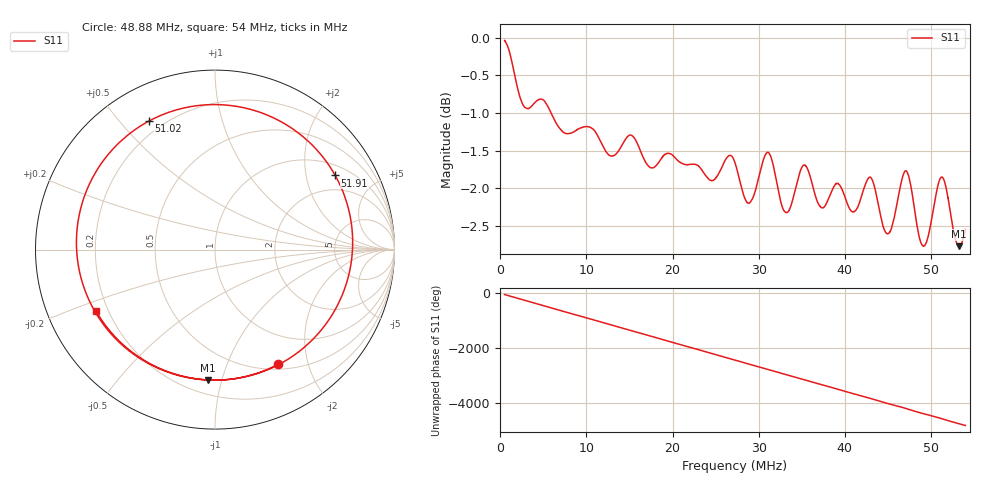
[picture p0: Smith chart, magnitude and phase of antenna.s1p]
! Calibrated high-resolution NanoVNA antenna measurement
# Hz S RI R 50
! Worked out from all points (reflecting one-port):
!   40001 points, 500 kHz to 54 MHz, reference 50 ohm
!   lowest |S11| = -2.8 dB at 53.29 MHz (marker M1), VSWR 6.33, Z = 14.7 - j45.3 ohm
!   phase of S11 starts at -46 deg and turns -4787 deg over the sweep
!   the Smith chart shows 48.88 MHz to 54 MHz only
!   S11 on the Smith chart (normalised r, x): 48.88 MHz: 0.56, -1.54; 51.02 MHz: 0.15, +0.60; 51.91 MHz: 1.36, +2.95; 54 MHz: 0.15, -0.24
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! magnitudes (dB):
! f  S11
! 500 kHz  0.0
! 2.692 MHz  -0.9
! 4.957 MHz  -0.8
! 7.188 MHz  -1.2
! 13.88 MHz  -1.5
! 15.15 MHz  -1.3
! 17.41 MHz  -1.7
! 20.56 MHz  -1.6
! 24.53 MHz  -1.9
! 27.25 MHz  -1.7
! 28.88 MHz  -2.2
! 31.13 MHz  -1.5
! 32.89 MHz  -2.3
! 33.94 MHz  -2.2
! 35.32 MHz  -1.7
! 37.18 MHz  -2.2
! 39.14 MHz  -1.9
! 40.62 MHz  -2.3
! 42.98 MHz  -1.9
! 45.06 MHz  -2.6
! 46.75 MHz  -1.8
! 47.31 MHz  -1.8
! 48.88 MHz  -2.7
! 49.58 MHz  -2.7
! 51.02 MHz  -1.9
! 51.91 MHz  -2.1
! 53.29 MHz  -2.8
! 54 MHz  -2.5
